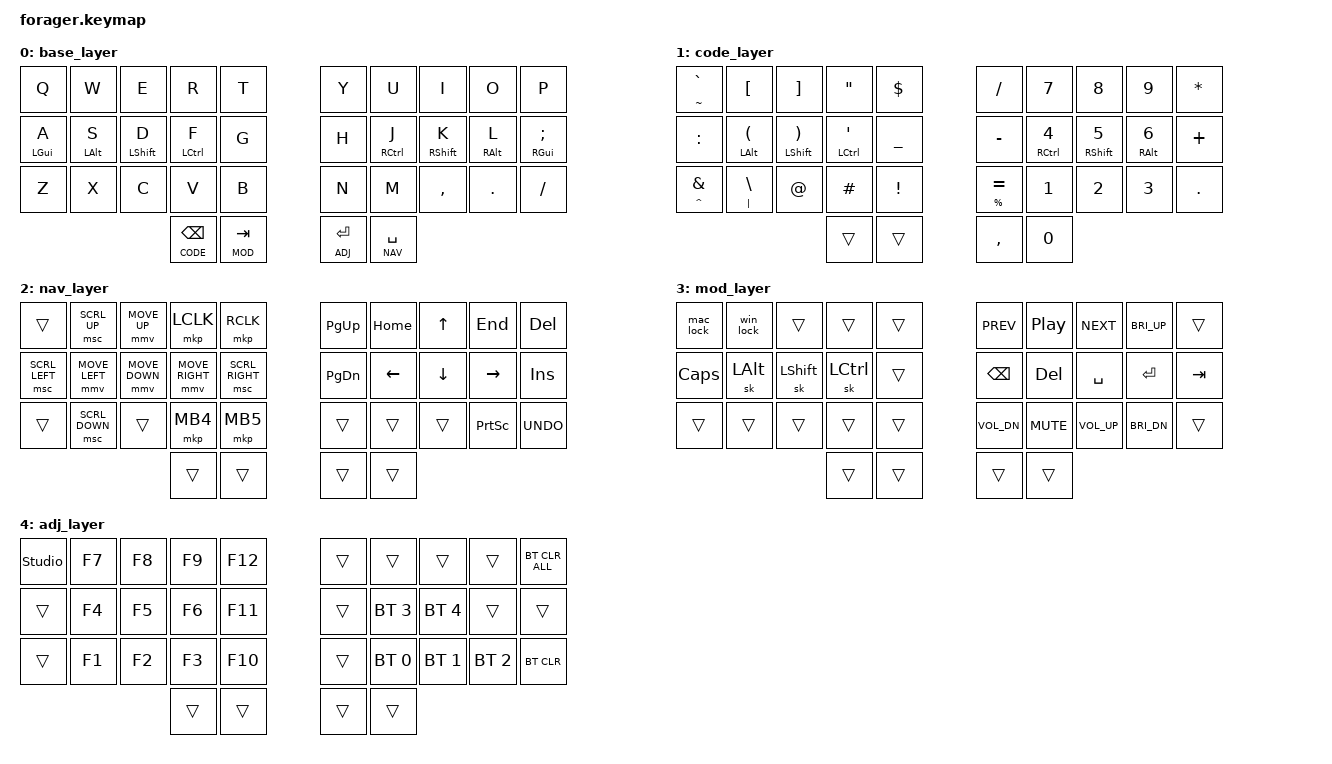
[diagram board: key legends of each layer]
#include <behaviors.dtsi>
#include <dt-bindings/zmk/keys.h>
#include <dt-bindings/zmk/bt.h>
#include <dt-bindings/zmk/mouse.h>

#define BASE 0
#define CODE 1
#define NAV  2
#define MOD  3
#define ADJ  4

/ {
    behaviors {
        // Homerow mods with optimized timing
        hml: homerow_mods_left {
            compatible = "zmk,behavior-hold-tap";
            #binding-cells = <2>;
            tapping-term-ms = <200>;
            quick-tap-ms = <175>;
            require-prior-idle-ms = <300>;
            flavor = "balanced";
            bindings = <&kp>, <&kp>;
        };
        
        hmr: homerow_mods_right {
            compatible = "zmk,behavior-hold-tap";
            #binding-cells = <2>;
            tapping-term-ms = <200>;
            quick-tap-ms = <175>;
            require-prior-idle-ms = <300>;
            flavor = "balanced";
            bindings = <&kp>, <&kp>;
        };
        
        // Symbol tap/holds
        td_bt_tl: backtick_tilde {
            compatible = "zmk,behavior-hold-tap";
            #binding-cells = <2>;
            tapping-term-ms = <200>;
            flavor = "tap-preferred";
            bindings = <&kp>, <&kp>;
        };
        
        td_bs_pipe: backslash_pipe {
            compatible = "zmk,behavior-hold-tap";
            #binding-cells = <2>;
            tapping-term-ms = <200>;
            flavor = "tap-preferred";
            bindings = <&kp>, <&kp>;
        };
        
        td_amp_car: ampersand_caret {
            compatible = "zmk,behavior-hold-tap";
            #binding-cells = <2>;
            tapping-term-ms = <200>;
            flavor = "tap-preferred";
            bindings = <&kp>, <&kp>;
        };
        
        td_eq_pct: equal_percent {
            compatible = "zmk,behavior-hold-tap";
            #binding-cells = <2>;
            tapping-term-ms = <200>;
            flavor = "tap-preferred";
            bindings = <&kp>, <&kp>;
        };
    };

    combos {
        compatible = "zmk,combos";
        
        combo_esc {
            timeout-ms = <50>;
            key-positions = <0 1>;
            bindings = <&kp ESC>;
        };
        
        combo_dictation {
            timeout-ms = <50>;
            key-positions = <26 27>;
            bindings = <&kp LA(SPACE)>;
            slow-release;
        };
        
        combo_enye {
            timeout-ms = <50>;
            key-positions = <8 9>;
            bindings = <&kp RA(N)>;
        };
    };

    macros {
        mac_lock: mac_lock_screen {
            compatible = "zmk,behavior-macro";
            #binding-cells = <0>;
            bindings = <&macro_press &kp LGUI &kp LCTRL>
                     , <&macro_pause_for_release>
                     , <&macro_tap &kp Q>
                     , <&macro_release &kp LGUI &kp LCTRL>;
        };
        
        win_lock: win_lock_screen {
            compatible = "zmk,behavior-macro";
            #binding-cells = <0>;
            bindings = <&macro_press &kp LGUI>
                     , <&macro_tap &kp L>
                     , <&macro_release &kp LGUI>;
        };
    };

    keymap {
        compatible = "zmk,keymap";

        base_layer {
            bindings = <
            &kp Q               &kp W               &kp E               &kp R               &kp T               &kp Y               &kp U               &kp I               &kp O               &kp P
            &hml LGUI A         &hml LALT S         &hml LSHFT D        &hml LCTRL F        &kp G               &kp H               &hmr RCTRL J        &hmr RSHFT K        &hmr RALT L         &hmr RGUI SEMI
            &kp Z               &kp X               &kp C               &kp V               &kp B               &kp N               &kp M               &kp COMMA           &kp DOT             &kp FSLH
                                                                        &lt CODE BSPC       &lt MOD TAB         &lt ADJ ENTER       &lt NAV SPACE
            >;
        };

        code_layer {
            bindings = <
            &td_bt_tl TILDE GRAVE &kp LBKT          &kp RBKT            &kp DQT             &kp DLLR            &kp FSLH            &kp N7              &kp N8              &kp N9              &kp STAR
            &kp COLON           &hml LALT LPAR      &hml LSHFT RPAR     &hml LCTRL SQT      &kp UNDER           &kp MINUS           &hmr RCTRL N4       &hmr RSHFT N5       &hmr RALT N6        &kp PLUS
            &td_amp_car CARET AMPS &td_bs_pipe PIPE BSLH &kp AT        &kp HASH            &kp EXCL            &td_eq_pct PRCNT EQUAL &kp N1           &kp N2              &kp N3              &kp DOT
                                                                        &trans              &trans              &kp COMMA           &kp N0
            >;
        };

        nav_layer {
            bindings = <
            &trans              &msc SCRL_UP        &mmv MOVE_UP        &mkp LCLK           &mkp RCLK           &kp PG_UP           &kp HOME            &kp UP              &kp END             &kp DEL
            &msc SCRL_LEFT      &mmv MOVE_LEFT      &mmv MOVE_DOWN      &mmv MOVE_RIGHT     &msc SCRL_RIGHT     &kp PG_DN           &kp LEFT            &kp DOWN            &kp RIGHT           &kp INS
            &trans              &msc SCRL_DOWN      &trans              &mkp MB4            &mkp MB5            &trans              &trans              &trans              &kp PSCRN           &kp K_UNDO
                                                                        &trans              &trans              &trans              &trans
            >;
        };

        mod_layer {
            bindings = <
            &mac_lock           &win_lock           &trans              &trans              &trans              &kp C_PREV          &kp C_PP            &kp C_NEXT          &kp C_BRI_UP        &trans
            &kp CAPS            &sk LALT            &sk LSHFT           &sk LCTRL           &trans              &kp BSPC            &kp DEL             &kp SPACE           &kp ENTER           &kp TAB
            &trans              &trans              &trans              &trans              &trans              &kp C_VOL_DN        &kp C_MUTE          &kp C_VOL_UP        &kp C_BRI_DN        &trans
                                                                        &trans              &trans              &trans              &trans
            >;
        };

        adj_layer {
            bindings = <
            &studio_unlock      &kp F7              &kp F8              &kp F9              &kp F12             &trans              &trans              &trans              &trans              &bt BT_CLR_ALL
            &trans              &kp F4              &kp F5              &kp F6              &kp F11             &trans              &bt BT_SEL 3        &bt BT_SEL 4        &trans              &trans
            &trans              &kp F1              &kp F2              &kp F3              &kp F10             &trans              &bt BT_SEL 0        &bt BT_SEL 1        &bt BT_SEL 2        &bt BT_CLR
                                                                        &trans              &trans              &trans              &trans
            >;
        };
    };
};

&sk {
    release-after-ms = <2000>;
    quick-release;
};
